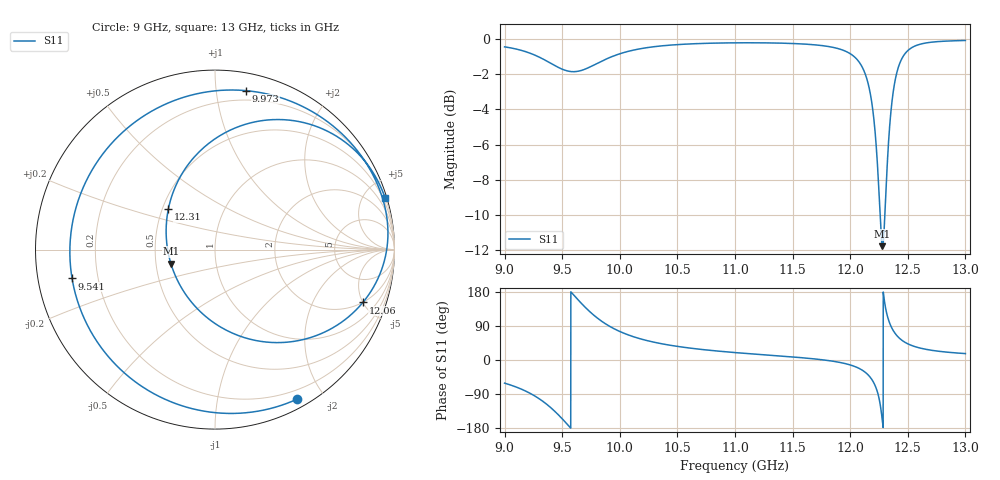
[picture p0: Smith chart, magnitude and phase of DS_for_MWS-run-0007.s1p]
! TOUCHSTONE file generated by CST DESIGN STUDIO
! Date and time: Wed Feb  5 13:44:22 2025
! Project name: C:\Work\MatlabApps\UnitCellOptimizationMatlab\CST\unitcell.cst
! Tree item: Tasks\Sweep1\SPara1\S-Parameters
! Header version: 2024
! Port assignment regex: !\s*Touchstone port\s*([0-9]+)\s*=\s*(CST MWS port|CST DES external port|CST DES block port)\s*(.+)\s* \(\"(.*)\"\)(\s*mode\s*([0-9]+))?.*
! Touchstone port assignment:
! Touchstone port 1 = CST DES external port 1 ("")
# GHz S MA R 50
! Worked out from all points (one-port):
!   4001 points, 9 GHz to 13 GHz, reference 50 ohm
!   lowest |S11| = -11.8 dB at 12.28 GHz (marker M1), VSWR 1.69, Z = 30 - j4.98 ohm
!   |S11| at or under -10 dB: 12.25953 GHz to 12.30081 GHz (41.29 MHz wide, 0.336 % of centre)
!   S11 on the Smith chart (normalised r, x): 9 GHz: 0.10, -1.69; 9.541 GHz: 0.10, -0.10; 9.973 GHz: 0.13, +1.20; 12.06 GHz: 1.99, -5.00; 12.31 GHz: 0.54, +0.28; 13 GHz: 0.21, +6.71
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9  0.9505 -61.1
9.149  0.9281 -77.3
9.299  0.8892 -102.0
9.401  0.8535 -125.9
9.5  0.8212 -155.1
9.541  0.8125 -168.6
9.637  0.8101 159.0
9.755  0.8374 123.3
9.853  0.8687 100.1
9.973  0.9021 79.1
10  0.9084 75.2
10.216  0.9434 52.8
10.5  0.9646 35.9
11  0.9759 19.6
11.5  0.9716 8.0
12  0.909 -13.0
12.06  0.8748 -19.7
12.143  0.7738 -35.6
12.207  0.5857 -61.5
12.244  0.3989 -92.7
12.28  0.2578 -162.5
12.306  0.3444 139.0
12.341  0.5563 98.5
12.377  0.7209 76.0
12.434  0.8597 55.6
12.5  0.9273 42.7
12.669  0.9764 27.5
13  0.9911 16.9
